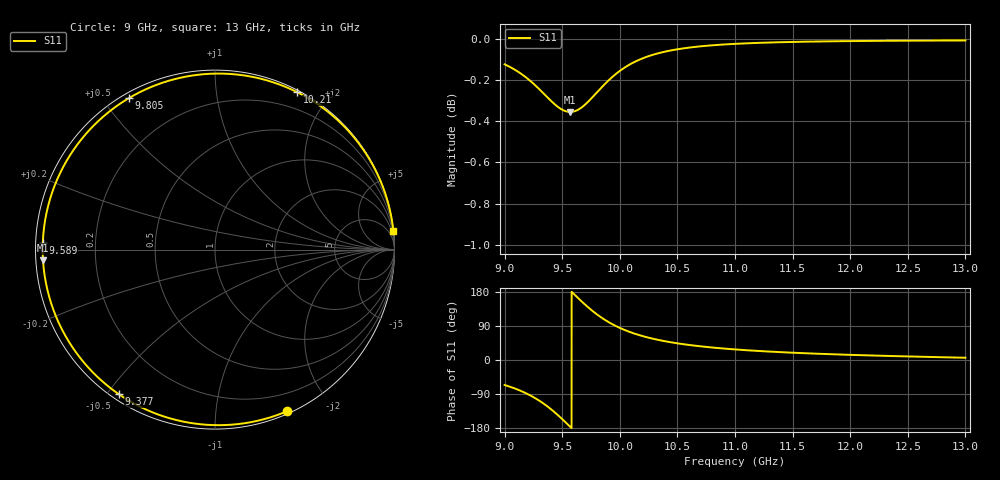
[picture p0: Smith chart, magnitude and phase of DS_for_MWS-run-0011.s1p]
! TOUCHSTONE file generated by CST DESIGN STUDIO
! Date and time: Tue Feb  4 17:46:28 2025
! Project name: C:\Work\MatlabApps\UnitCellOptimizationMatlab\CST\unitcell.cst
! Tree item: Tasks\Sweep1\SPara1\S-Parameters
! Header version: 2024
! Port assignment regex: !\s*Touchstone port\s*([0-9]+)\s*=\s*(CST MWS port|CST DES external port|CST DES block port)\s*(.+)\s* \(\"(.*)\"\)(\s*mode\s*([0-9]+))?.*
! Touchstone port assignment:
! Touchstone port 1 = CST DES external port 1 ("")
# GHz S MA R 50
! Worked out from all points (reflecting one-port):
!   4001 points, 9 GHz to 13 GHz, reference 50 ohm
!   lowest |S11| = -0.4 dB at 9.57 GHz (marker M1), VSWR 49.04, Z = 1.02 - j1.55 ohm
!   phase of S11 starts at -66 deg and turns -288 deg over the sweep
!   S11 on the Smith chart (normalised r, x): 9 GHz: 0.02, -1.54; 9.377 GHz: 0.02, -0.54; 9.589 GHz: 0.02, +0.02; 9.805 GHz: 0.02, +0.58; 10.21 GHz: 0.02, +1.65; 13 GHz: 0, +19
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9  0.9859 -66.0
9.044  0.9846 -70.3
9.112  0.9821 -77.9
9.228  0.9766 -94.3
9.307  0.9719 -108.6
9.377  0.9676 -123.7
9.438  0.964 -138.8
9.5  0.9612 -155.9
9.536  0.9603 -166.3
9.57  0.96 -176.4
9.589  0.9601 177.9
9.644  0.9614 161.6
9.705  0.9643 144.4
9.755  0.9674 131.4
9.805  0.9708 119.6
9.848  0.9737 110.4
9.893  0.9766 101.7
10  0.9823 84.7
10.099  0.9863 72.6
10.206  0.9895 62.4
10.341  0.9922 52.6
10.5  0.9943 44.0
10.721  0.9961 35.4
11  0.9973 27.9
11.5  0.9984 19.2
12  0.9989 13.6
12.5  0.9991 9.4
13  0.9992 6.0
